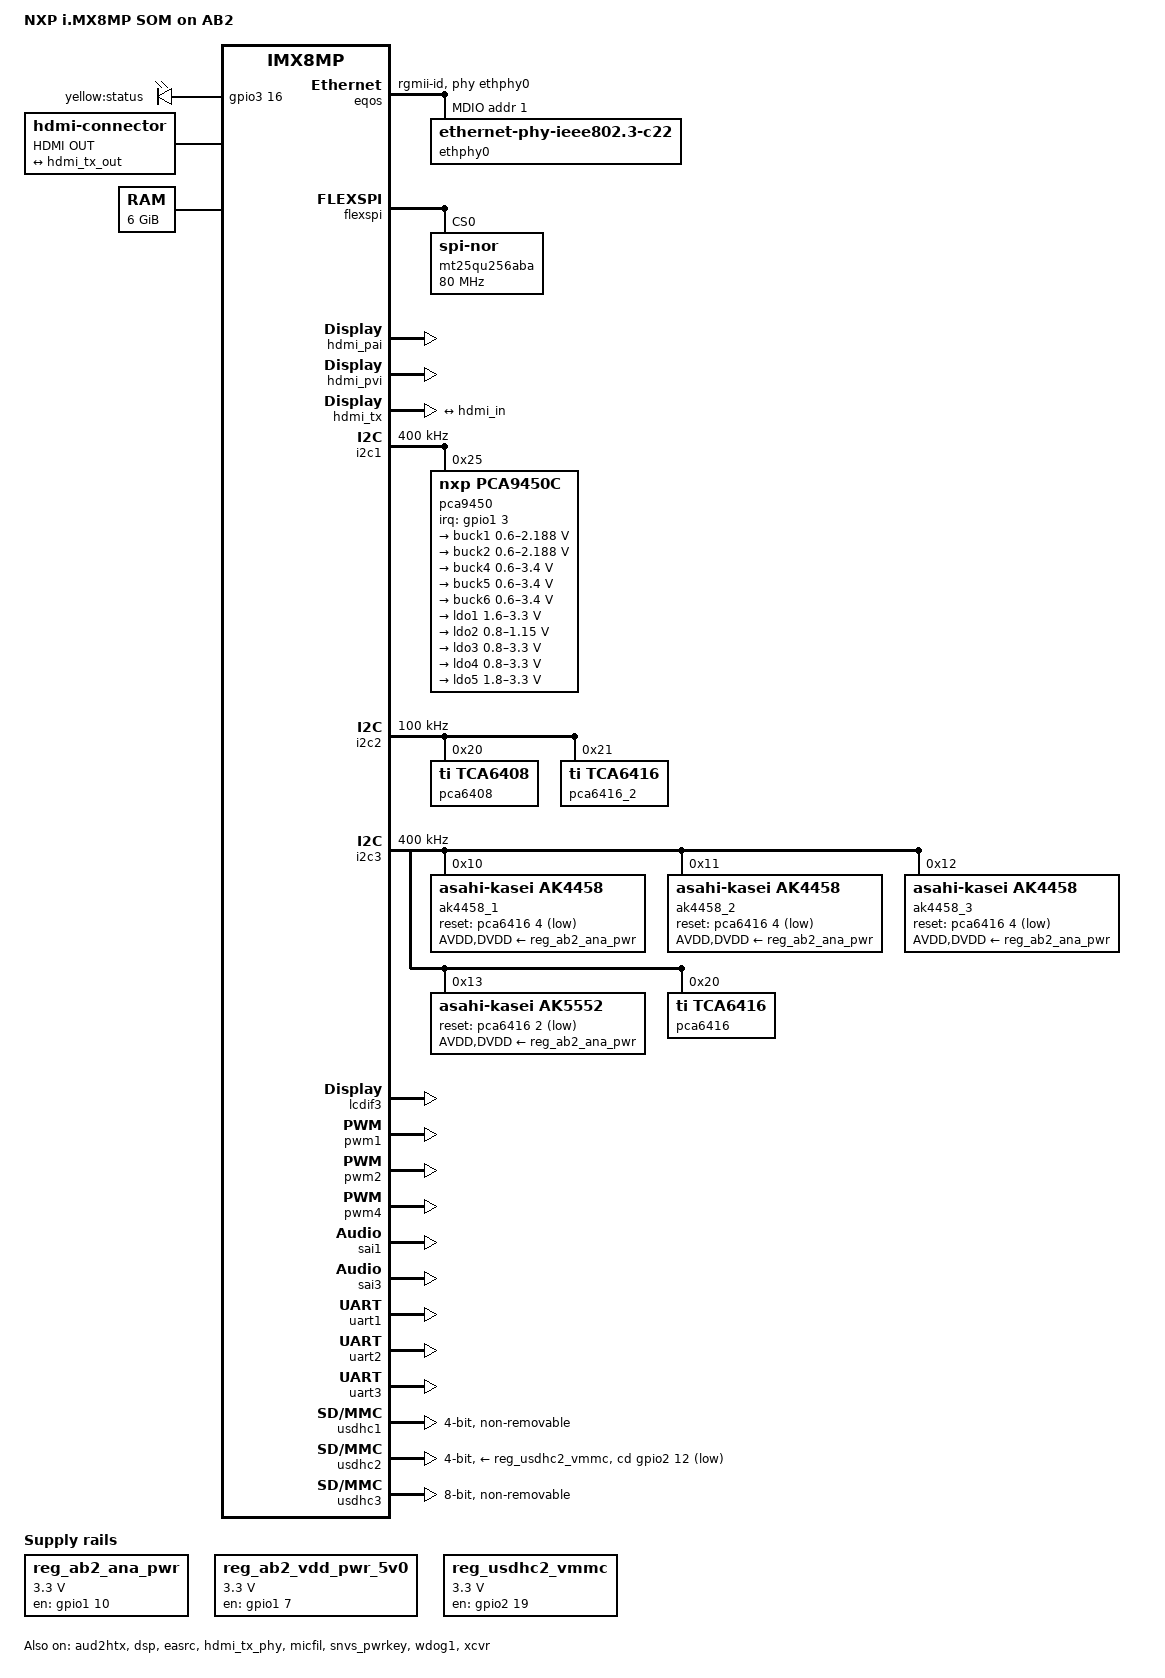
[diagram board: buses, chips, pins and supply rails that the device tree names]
// SPDX-License-Identifier: (GPL-2.0+ OR MIT)
/*
 * Copyright 2020-2026 NXP
 */

/dts-v1/;

#include <dt-bindings/usb/pd.h>
#include "imx8mp.dtsi"

/ {
	compatible = "fsl,imx8mp-ab2", "fsl,imx8mp";
	model = "NXP i.MX8MP SOM on AB2";

	chosen {
		stdout-path = &uart2;
	};

	gpio-leds {
		compatible = "gpio-leds";
		pinctrl-0 = <&pinctrl_gpio_led>;
		pinctrl-names = "default";

		status {
			default-state = "on";
			gpios = <&gpio3 16 GPIO_ACTIVE_HIGH>;
			label = "yellow:status";
		};
	};

	native-hdmi-connector {
		compatible = "hdmi-connector";
		label = "HDMI OUT";
		type = "a";

		port {
			hdmi_in: endpoint {
				remote-endpoint = <&hdmi_tx_out>;
			};
		};
	};

	reg_ab2_ana_pwr: regulator-ab2-ana-pwr {
		compatible = "regulator-fixed";
		regulator-name = "ab2_ana_pwr";
		pinctrl-0 = <&pinctrl_ab2_ana_pwr>;
		pinctrl-names = "default";
		regulator-always-on;
		regulator-max-microvolt = <3300000>;
		regulator-min-microvolt = <3300000>;
		gpio = <&gpio1 10 GPIO_ACTIVE_HIGH>;
		enable-active-high;
	};

	reg_ab2_vdd_pwr_5v0: regulator-ab2-vdd-pwr-5v0 {
		compatible = "regulator-fixed";
		regulator-name = "ab2_vdd_pwr_5v0";
		pinctrl-0 = <&pinctrl_ab2_vdd_pwr_5v0>;
		pinctrl-names = "default";
		regulator-always-on;
		regulator-max-microvolt = <3300000>;
		regulator-min-microvolt = <3300000>;
		gpio = <&gpio1 7 GPIO_ACTIVE_HIGH>;
		enable-active-high;
	};

	reg_usdhc2_vmmc: regulator-usdhc2 {
		compatible = "regulator-fixed";
		regulator-name = "VSD_3V3";
		pinctrl-0 = <&pinctrl_reg_usdhc2_vmmc>;
		pinctrl-names = "default";
		regulator-max-microvolt = <3300000>;
		regulator-min-microvolt = <3300000>;
		gpio = <&gpio2 19 GPIO_ACTIVE_HIGH>;
		enable-active-high;
	};

	reserved-memory {
		ranges;
		#address-cells = <2>;
		#size-cells = <2>;

		dsp_vdev0vring0: vdev0vring0@942f0000 {
			reg = <0 0x942f0000 0 0x8000>;
			no-map;
		};

		dsp_vdev0vring1: vdev0vring1@942f8000 {
			reg = <0 0x942f8000 0 0x8000>;
			no-map;
		};

		dsp_vdev0buffer: vdev0buffer@94300000 {
			compatible = "shared-dma-pool";
			reg = <0 0x94300000 0 0x100000>;
			no-map;
		};
	};

	sound-ak4458 {
		compatible = "fsl,imx-audio-card";
		model = "ak4458-audio";

		pri-dai-link {
			format = "i2s";
			link-name = "akcodec";
			fsl,mclk-equal-bclk;

			codec {
				sound-dai = <&ak4458_1>, <&ak4458_2>;
			};

			cpu {
				sound-dai = <&sai1>;
			};
		};
	};

	sound-ak5552 {
		compatible = "fsl,imx-audio-card";
		model = "ak5552-audio";

		pri-dai-link {
			format = "i2s";
			link-name = "akcodec";
			fsl,mclk-equal-bclk;

			codec {
				sound-dai = <&ak5552>;
			};

			cpu {
				sound-dai = <&sai3>;
			};
		};
	};

	sound-hdmi {
		compatible = "fsl,imx-audio-hdmi";
		audio-cpu = <&aud2htx>;
		hdmi-out;
		model = "audio-hdmi";
	};

	sound-micfil {
		compatible = "fsl,imx-audio-card";
		model = "micfil-audio";

		pri-dai-link {
			format = "i2s";
			link-name = "micfil hifi";

			cpu {
				sound-dai = <&micfil>;
			};
		};
	};

	sound-xcvr {
		compatible = "fsl,imx-audio-card";
		model = "imx-audio-xcvr";

		pri-dai-link {
			link-name = "XCVR PCM";

			cpu {
				sound-dai = <&xcvr>;
			};
		};
	};

	memory@40000000 {
		reg = <0x0 0x40000000 0 0xc0000000>,
		      <0x1 0x00000000 0 0xc0000000>;
		device_type = "memory";
	};
};

&A53_0 {
	cpu-supply = <&buck2>;
};

&A53_1 {
	cpu-supply = <&buck2>;
};

&A53_2 {
	cpu-supply = <&buck2>;
};

&A53_3 {
	cpu-supply = <&buck2>;
};

&aud2htx {
	status = "okay";
};

&dsp {
	memory-region = <&dsp_vdev0buffer>, <&dsp_vdev0vring0>,
			<&dsp_vdev0vring1>, <&dsp_reserved>;
	status = "okay";
};

&dsp_reserved {
	status = "okay";
};

&easrc {
	#sound-dai-cells = <0>;
	fsl,asrc-rate = <48000>;
	status = "okay";
};

&eqos {
	phy-handle = <&ethphy0>;
	phy-mode = "rgmii-id";
	pinctrl-0 = <&pinctrl_eqos>;
	pinctrl-names = "default";
	status = "okay";

	mdio {
		compatible = "snps,dwmac-mdio";
		#address-cells = <1>;
		#size-cells = <0>;

		ethphy0: ethernet-phy@1 {
			compatible = "ethernet-phy-ieee802.3-c22";
			reg = <1>;
		};
	};
};

&flexspi {
	pinctrl-0 = <&pinctrl_flexspi0>;
	pinctrl-names = "default";
	status = "okay";

	mt25qu256aba: flash@0 {
		compatible = "jedec,spi-nor";
		reg = <0>;
		spi-max-frequency = <80000000>;
		spi-rx-bus-width = <4>;
		spi-tx-bus-width = <1>;
	};
};

&hdmi_pai {
	status = "okay";
};

&hdmi_pvi {
	status = "okay";
};

&hdmi_tx {
	pinctrl-0 = <&pinctrl_hdmi>;
	pinctrl-names = "default";
	status = "okay";

	ports {
		port@1 {
			hdmi_tx_out: endpoint {
				remote-endpoint = <&hdmi_in>;
			};
		};
	};
};

&hdmi_tx_phy {
	status = "okay";
};

&i2c1 {
	clock-frequency = <400000>;
	pinctrl-0 = <&pinctrl_i2c1>;
	pinctrl-names = "default";
	status = "okay";

	pca9450: pmic@25 {
		compatible = "nxp,pca9450c";
		reg = <0x25>;
		interrupt-parent = <&gpio1>;
		interrupts = <3 IRQ_TYPE_LEVEL_LOW>;
		pinctrl-0 = <&pinctrl_pmic>;

		regulators {
			buck1: BUCK1 {
				regulator-name = "BUCK1";
				regulator-always-on;
				regulator-boot-on;
				regulator-max-microvolt = <2187500>;
				regulator-min-microvolt = <600000>;
				regulator-ramp-delay = <3125>;
			};

			buck2: BUCK2 {
				regulator-name = "BUCK2";
				regulator-always-on;
				regulator-boot-on;
				regulator-max-microvolt = <2187500>;
				regulator-min-microvolt = <600000>;
				regulator-ramp-delay = <3125>;
				nxp,dvs-run-voltage = <950000>;
				nxp,dvs-standby-voltage = <850000>;
			};

			buck4: BUCK4 {
				regulator-name = "BUCK4";
				regulator-always-on;
				regulator-boot-on;
				regulator-max-microvolt = <3400000>;
				regulator-min-microvolt = <600000>;
			};

			buck5: BUCK5 {
				regulator-name = "BUCK5";
				regulator-always-on;
				regulator-boot-on;
				regulator-max-microvolt = <3400000>;
				regulator-min-microvolt = <600000>;
			};

			buck6: BUCK6 {
				regulator-name = "BUCK6";
				regulator-always-on;
				regulator-boot-on;
				regulator-max-microvolt = <3400000>;
				regulator-min-microvolt = <600000>;
			};

			ldo1: LDO1 {
				regulator-name = "LDO1";
				regulator-always-on;
				regulator-boot-on;
				regulator-max-microvolt = <3300000>;
				regulator-min-microvolt = <1600000>;
			};

			ldo2: LDO2 {
				regulator-name = "LDO2";
				regulator-always-on;
				regulator-boot-on;
				regulator-max-microvolt = <1150000>;
				regulator-min-microvolt = <800000>;
			};

			ldo3: LDO3 {
				regulator-name = "LDO3";
				regulator-always-on;
				regulator-boot-on;
				regulator-max-microvolt = <3300000>;
				regulator-min-microvolt = <800000>;
			};

			ldo4: LDO4 {
				regulator-name = "LDO4";
				regulator-always-on;
				regulator-boot-on;
				regulator-max-microvolt = <3300000>;
				regulator-min-microvolt = <800000>;
			};

			ldo5: LDO5 {
				regulator-name = "LDO5";
				regulator-always-on;
				regulator-boot-on;
				regulator-max-microvolt = <3300000>;
				regulator-min-microvolt = <1800000>;
			};
		};
	};
};

&i2c2 {
	clock-frequency = <100000>;
	pinctrl-0 = <&pinctrl_i2c2>;
	pinctrl-names = "default";
	status = "okay";

	pca6408: gpio@20 {
		compatible = "ti,tca6408";
		reg = <0x20>;
		#gpio-cells = <2>;
		gpio-controller;
	};

	pca6416_2: gpio@21 {
		compatible = "ti,tca6416";
		reg = <0x21>;
		#gpio-cells = <2>;
		gpio-controller;
	};
};

&i2c3 {
	clock-frequency = <400000>;
	pinctrl-0 = <&pinctrl_i2c3>;
	pinctrl-names = "default";
	status = "okay";

	ak4458_1: audio-codec@10 {
		compatible = "asahi-kasei,ak4458";
		reg = <0x10>;
		#sound-dai-cells = <0>;
		AVDD-supply = <&reg_ab2_ana_pwr>;
		DVDD-supply = <&reg_ab2_ana_pwr>;
		reset-gpios = <&pca6416 4 GPIO_ACTIVE_LOW>;
		sound-name-prefix = "0";
	};

	ak4458_2: audio-codec@11 {
		compatible = "asahi-kasei,ak4458";
		reg = <0x11>;
		#sound-dai-cells = <0>;
		AVDD-supply = <&reg_ab2_ana_pwr>;
		DVDD-supply = <&reg_ab2_ana_pwr>;
		reset-gpios = <&pca6416 4 GPIO_ACTIVE_LOW>;
		sound-name-prefix = "1";
	};

	ak4458_3: audio-codec@12 {
		compatible = "asahi-kasei,ak4458";
		reg = <0x12>;
		#sound-dai-cells = <0>;
		AVDD-supply = <&reg_ab2_ana_pwr>;
		DVDD-supply = <&reg_ab2_ana_pwr>;
		reset-gpios = <&pca6416 4 GPIO_ACTIVE_LOW>;
	};

	ak5552: audio-codec@13 {
		compatible = "asahi-kasei,ak5552";
		reg = <0x13>;
		#sound-dai-cells = <0>;
		AVDD-supply = <&reg_ab2_ana_pwr>;
		DVDD-supply = <&reg_ab2_ana_pwr>;
		reset-gpios = <&pca6416 2 GPIO_ACTIVE_LOW>;
	};

	pca6416: gpio@20 {
		compatible = "ti,tca6416";
		reg = <0x20>;
		#gpio-cells = <2>;
		gpio-controller;
	};
};

&iomuxc {
	pinctrl-0 = <&pinctrl_hog>;
	pinctrl-names = "default";

	pinctrl_ab2_ana_pwr: ab2anapwrgrp {
		fsl,pins = <
			MX8MP_IOMUXC_GPIO1_IO10__GPIO1_IO10	0xd6
		>;
	};

	pinctrl_ab2_vdd_pwr_5v0: ab2vddpwr5v0grp {
		fsl,pins = <
			MX8MP_IOMUXC_GPIO1_IO07__GPIO1_IO07	0xd6
		>;
	};

	pinctrl_eqos: eqosgrp {
		fsl,pins = <
			MX8MP_IOMUXC_ENET_MDC__ENET_QOS_MDC		0x2
			MX8MP_IOMUXC_ENET_MDIO__ENET_QOS_MDIO		0x2
			MX8MP_IOMUXC_ENET_RD0__ENET_QOS_RGMII_RD0	0x90
			MX8MP_IOMUXC_ENET_RD1__ENET_QOS_RGMII_RD1	0x90
			MX8MP_IOMUXC_ENET_RD2__ENET_QOS_RGMII_RD2	0x90
			MX8MP_IOMUXC_ENET_RD3__ENET_QOS_RGMII_RD3	0x90
			MX8MP_IOMUXC_ENET_RXC__CCM_ENET_QOS_CLOCK_GENERATE_RX_CLK	0x90
			MX8MP_IOMUXC_ENET_RX_CTL__ENET_QOS_RGMII_RX_CTL	0x90
			MX8MP_IOMUXC_ENET_TD0__ENET_QOS_RGMII_TD0	0x16
			MX8MP_IOMUXC_ENET_TD1__ENET_QOS_RGMII_TD1	0x16
			MX8MP_IOMUXC_ENET_TD2__ENET_QOS_RGMII_TD2	0x16
			MX8MP_IOMUXC_ENET_TD3__ENET_QOS_RGMII_TD3	0x16
			MX8MP_IOMUXC_ENET_TX_CTL__ENET_QOS_RGMII_TX_CTL	0x16
			MX8MP_IOMUXC_ENET_TXC__CCM_ENET_QOS_CLOCK_GENERATE_TX_CLK	0x16
			MX8MP_IOMUXC_GPIO1_IO05__GPIO1_IO05		0x10
		>;
	};

	pinctrl_flexspi0: flexspi0grp {
		fsl,pins = <
			MX8MP_IOMUXC_NAND_ALE__FLEXSPI_A_SCLK           0x1c2
			MX8MP_IOMUXC_NAND_CE0_B__FLEXSPI_A_SS0_B        0x82
			MX8MP_IOMUXC_NAND_DATA00__FLEXSPI_A_DATA00      0x82
			MX8MP_IOMUXC_NAND_DATA01__FLEXSPI_A_DATA01      0x82
			MX8MP_IOMUXC_NAND_DATA02__FLEXSPI_A_DATA02      0x82
			MX8MP_IOMUXC_NAND_DATA03__FLEXSPI_A_DATA03      0x82
		>;
	};

	pinctrl_gpio_led: gpioledgrp {
		fsl,pins = <
			MX8MP_IOMUXC_NAND_READY_B__GPIO3_IO16	0x10
		>;
	};

	pinctrl_hdmi: hdmigrp {
		fsl,pins = <
			MX8MP_IOMUXC_HDMI_DDC_SCL__HDMIMIX_HDMI_SCL	0x1c2
			MX8MP_IOMUXC_HDMI_DDC_SDA__HDMIMIX_HDMI_SDA	0x1c2
			MX8MP_IOMUXC_HDMI_CEC__HDMIMIX_HDMI_CEC		0x10
		>;
	};

	pinctrl_hog: hoggrp {
		fsl,pins = <
			MX8MP_IOMUXC_HDMI_HPD__HDMIMIX_HDMI_HPD		0x40000010
		>;
	};

	pinctrl_i2c1: i2c1grp {
		fsl,pins = <
			MX8MP_IOMUXC_I2C1_SCL__I2C1_SCL		0x400001c2
			MX8MP_IOMUXC_I2C1_SDA__I2C1_SDA		0x400001c2
		>;
	};

	pinctrl_i2c2: i2c2grp {
		fsl,pins = <
			MX8MP_IOMUXC_I2C2_SCL__I2C2_SCL		0x400001c2
			MX8MP_IOMUXC_I2C2_SDA__I2C2_SDA		0x400001c2
		>;
	};

	pinctrl_i2c3: i2c3grp {
		fsl,pins = <
			MX8MP_IOMUXC_I2C3_SCL__I2C3_SCL		0x400001c2
			MX8MP_IOMUXC_I2C3_SDA__I2C3_SDA		0x400001c2
		>;
	};

	pinctrl_pdm: pdmgrp {
		fsl,pins = <
			MX8MP_IOMUXC_SAI5_RXC__AUDIOMIX_PDM_CLK		0xd6
			MX8MP_IOMUXC_SAI5_RXD0__AUDIOMIX_PDM_BIT_STREAM00	0xd6
			MX8MP_IOMUXC_SAI5_RXD1__AUDIOMIX_PDM_BIT_STREAM01	0xd6
			MX8MP_IOMUXC_SAI5_RXD2__AUDIOMIX_PDM_BIT_STREAM02	0xd6
			MX8MP_IOMUXC_SAI5_RXD3__AUDIOMIX_PDM_BIT_STREAM03	0xd6
		>;
	};

	pinctrl_pmic: pmicgrp {
		fsl,pins = <
			MX8MP_IOMUXC_GPIO1_IO03__GPIO1_IO03	0x1c0
		>;
	};

	pinctrl_pwm1: pwm1grp {
		fsl,pins = <
			MX8MP_IOMUXC_GPIO1_IO01__PWM1_OUT	0x116
		>;
	};

	pinctrl_pwm2: pwm2grp {
		fsl,pins = <
			MX8MP_IOMUXC_GPIO1_IO11__PWM2_OUT	0x116
		>;
	};

	pinctrl_pwm4: pwm4grp {
		fsl,pins = <
			MX8MP_IOMUXC_SAI5_RXFS__PWM4_OUT	0x116
		>;
	};

	pinctrl_reg_usdhc2_vmmc: regusdhc2vmmcgrp {
		fsl,pins = <
			MX8MP_IOMUXC_SD2_RESET_B__GPIO2_IO19	0x41
		>;
	};

	pinctrl_sai1: sai1grp {
		fsl,pins = <
			MX8MP_IOMUXC_SAI1_MCLK__AUDIOMIX_SAI1_MCLK	0xd6
			MX8MP_IOMUXC_SAI1_TXFS__AUDIOMIX_SAI1_TX_SYNC	0xd6
			MX8MP_IOMUXC_SAI1_TXC__AUDIOMIX_SAI1_TX_BCLK	0xd6
			MX8MP_IOMUXC_SAI1_TXD0__AUDIOMIX_SAI1_TX_DATA00	0xd6
			MX8MP_IOMUXC_SAI1_TXD1__AUDIOMIX_SAI1_TX_DATA01	0xd6
			MX8MP_IOMUXC_SAI1_TXD2__AUDIOMIX_SAI1_TX_DATA02	0xd6
			MX8MP_IOMUXC_SAI1_TXD3__AUDIOMIX_SAI1_TX_DATA03	0xd6
			MX8MP_IOMUXC_SAI1_TXD4__AUDIOMIX_SAI1_TX_DATA04	0xd6
			MX8MP_IOMUXC_SAI1_TXD5__AUDIOMIX_SAI1_TX_DATA05	0xd6
			MX8MP_IOMUXC_SAI1_TXD6__AUDIOMIX_SAI1_TX_DATA06	0xd6
			MX8MP_IOMUXC_SAI1_TXD7__AUDIOMIX_SAI1_TX_DATA07	0xd6
		>;
	};

	pinctrl_sai3: sai3grp {
		fsl,pins = <
			MX8MP_IOMUXC_SAI3_MCLK__AUDIOMIX_SAI3_MCLK	0xd6
			MX8MP_IOMUXC_SAI3_RXC__AUDIOMIX_SAI3_RX_BCLK	0xd6
			MX8MP_IOMUXC_SAI3_RXFS__AUDIOMIX_SAI3_RX_SYNC	0xd6
			MX8MP_IOMUXC_SAI3_RXD__AUDIOMIX_SAI3_RX_DATA00	0xd6
		>;
	};

	pinctrl_uart1: uart1grp {
		fsl,pins = <
			MX8MP_IOMUXC_UART1_RXD__UART1_DCE_RX	0x140
			MX8MP_IOMUXC_UART1_TXD__UART1_DCE_TX	0x140
			MX8MP_IOMUXC_UART3_RXD__UART1_DCE_CTS	0x140
			MX8MP_IOMUXC_UART3_TXD__UART1_DCE_RTS	0x140
		>;
	};

	pinctrl_uart2: uart2grp {
		fsl,pins = <
			MX8MP_IOMUXC_UART2_RXD__UART2_DCE_RX	0x140
			MX8MP_IOMUXC_UART2_TXD__UART2_DCE_TX	0x140
		>;
	};

	pinctrl_uart3: uart3grp {
		fsl,pins = <
			MX8MP_IOMUXC_ECSPI1_SCLK__UART3_DCE_RX		0x140
			MX8MP_IOMUXC_ECSPI1_MOSI__UART3_DCE_TX		0x140
			MX8MP_IOMUXC_ECSPI1_SS0__UART3_DCE_RTS		0x140
			MX8MP_IOMUXC_ECSPI1_MISO__UART3_DCE_CTS		0x140
		>;
	};

	pinctrl_usdhc1: usdhc1grp {
		fsl,pins = <
			MX8MP_IOMUXC_SD1_CLK__USDHC1_CLK	0x190
			MX8MP_IOMUXC_SD1_CMD__USDHC1_CMD	0x1d0
			MX8MP_IOMUXC_SD1_DATA0__USDHC1_DATA0	0x1d0
			MX8MP_IOMUXC_SD1_DATA1__USDHC1_DATA1	0x1d0
			MX8MP_IOMUXC_SD1_DATA2__USDHC1_DATA2	0x1d0
			MX8MP_IOMUXC_SD1_DATA3__USDHC1_DATA3	0x1d0
		>;
	};

	pinctrl_usdhc1_100mhz: usdhc1-100mhzgrp {
		fsl,pins = <
			MX8MP_IOMUXC_SD1_CLK__USDHC1_CLK	0x194
			MX8MP_IOMUXC_SD1_CMD__USDHC1_CMD	0x1d4
			MX8MP_IOMUXC_SD1_DATA0__USDHC1_DATA0	0x1d4
			MX8MP_IOMUXC_SD1_DATA1__USDHC1_DATA1	0x1d4
			MX8MP_IOMUXC_SD1_DATA2__USDHC1_DATA2	0x1d4
			MX8MP_IOMUXC_SD1_DATA3__USDHC1_DATA3	0x1d4
		>;
	};

	pinctrl_usdhc1_200mhz: usdhc1-200mhzgrp {
		fsl,pins = <
			MX8MP_IOMUXC_SD1_CLK__USDHC1_CLK	0x196
			MX8MP_IOMUXC_SD1_CMD__USDHC1_CMD	0x1d6
			MX8MP_IOMUXC_SD1_DATA0__USDHC1_DATA0	0x1d6
			MX8MP_IOMUXC_SD1_DATA1__USDHC1_DATA1	0x1d6
			MX8MP_IOMUXC_SD1_DATA2__USDHC1_DATA2	0x1d6
			MX8MP_IOMUXC_SD1_DATA3__USDHC1_DATA3	0x1d6
		>;
	};

	pinctrl_usdhc2_gpio: usdhc2gpiogrp {
		fsl,pins = <
			MX8MP_IOMUXC_SD2_CD_B__GPIO2_IO12	0x1c4
		>;
	};

	pinctrl_usdhc2: usdhc2grp {
		fsl,pins = <
			MX8MP_IOMUXC_SD2_CLK__USDHC2_CLK	0x190
			MX8MP_IOMUXC_SD2_CMD__USDHC2_CMD	0x1d0
			MX8MP_IOMUXC_SD2_DATA0__USDHC2_DATA0	0x1d0
			MX8MP_IOMUXC_SD2_DATA1__USDHC2_DATA1	0x1d0
			MX8MP_IOMUXC_SD2_DATA2__USDHC2_DATA2	0x1d0
			MX8MP_IOMUXC_SD2_DATA3__USDHC2_DATA3	0x1d0
			MX8MP_IOMUXC_GPIO1_IO04__USDHC2_VSELECT	0xc0
		>;
	};

	pinctrl_usdhc2_100mhz: usdhc2-100mhzgrp {
		fsl,pins = <
			MX8MP_IOMUXC_SD2_CLK__USDHC2_CLK	0x194
			MX8MP_IOMUXC_SD2_CMD__USDHC2_CMD	0x1d4
			MX8MP_IOMUXC_SD2_DATA0__USDHC2_DATA0	0x1d4
			MX8MP_IOMUXC_SD2_DATA1__USDHC2_DATA1	0x1d4
			MX8MP_IOMUXC_SD2_DATA2__USDHC2_DATA2	0x1d4
			MX8MP_IOMUXC_SD2_DATA3__USDHC2_DATA3	0x1d4
			MX8MP_IOMUXC_GPIO1_IO04__USDHC2_VSELECT 0xc0
		>;
	};

	pinctrl_usdhc2_200mhz: usdhc2-200mhzgrp {
		fsl,pins = <
			MX8MP_IOMUXC_SD2_CLK__USDHC2_CLK	0x196
			MX8MP_IOMUXC_SD2_CMD__USDHC2_CMD	0x1d6
			MX8MP_IOMUXC_SD2_DATA0__USDHC2_DATA0	0x1d6
			MX8MP_IOMUXC_SD2_DATA1__USDHC2_DATA1	0x1d6
			MX8MP_IOMUXC_SD2_DATA2__USDHC2_DATA2	0x1d6
			MX8MP_IOMUXC_SD2_DATA3__USDHC2_DATA3	0x1d6
			MX8MP_IOMUXC_GPIO1_IO04__USDHC2_VSELECT 0xc0
		>;
	};

	pinctrl_usdhc3: usdhc3grp {
		fsl,pins = <
			MX8MP_IOMUXC_NAND_WE_B__USDHC3_CLK	0x190
			MX8MP_IOMUXC_NAND_WP_B__USDHC3_CMD	0x1d0
			MX8MP_IOMUXC_NAND_DATA04__USDHC3_DATA0	0x1d0
			MX8MP_IOMUXC_NAND_DATA05__USDHC3_DATA1	0x1d0
			MX8MP_IOMUXC_NAND_DATA06__USDHC3_DATA2	0x1d0
			MX8MP_IOMUXC_NAND_DATA07__USDHC3_DATA3	0x1d0
			MX8MP_IOMUXC_NAND_RE_B__USDHC3_DATA4	0x1d0
			MX8MP_IOMUXC_NAND_CE2_B__USDHC3_DATA5	0x1d0
			MX8MP_IOMUXC_NAND_CE3_B__USDHC3_DATA6	0x1d0
			MX8MP_IOMUXC_NAND_CLE__USDHC3_DATA7	0x1d0
			MX8MP_IOMUXC_NAND_CE1_B__USDHC3_STROBE	0x190
		>;
	};

	pinctrl_usdhc3_100mhz: usdhc3-100mhzgrp {
		fsl,pins = <
			MX8MP_IOMUXC_NAND_WE_B__USDHC3_CLK	0x194
			MX8MP_IOMUXC_NAND_WP_B__USDHC3_CMD	0x1d4
			MX8MP_IOMUXC_NAND_DATA04__USDHC3_DATA0	0x1d4
			MX8MP_IOMUXC_NAND_DATA05__USDHC3_DATA1	0x1d4
			MX8MP_IOMUXC_NAND_DATA06__USDHC3_DATA2	0x1d4
			MX8MP_IOMUXC_NAND_DATA07__USDHC3_DATA3	0x1d4
			MX8MP_IOMUXC_NAND_RE_B__USDHC3_DATA4	0x1d4
			MX8MP_IOMUXC_NAND_CE2_B__USDHC3_DATA5	0x1d4
			MX8MP_IOMUXC_NAND_CE3_B__USDHC3_DATA6	0x1d4
			MX8MP_IOMUXC_NAND_CLE__USDHC3_DATA7	0x1d4
			MX8MP_IOMUXC_NAND_CE1_B__USDHC3_STROBE	0x194
		>;
	};

	pinctrl_usdhc3_200mhz: usdhc3-200mhzgrp {
		fsl,pins = <
			MX8MP_IOMUXC_NAND_WE_B__USDHC3_CLK	0x196
			MX8MP_IOMUXC_NAND_WP_B__USDHC3_CMD	0x1d6
			MX8MP_IOMUXC_NAND_DATA04__USDHC3_DATA0	0x1d6
			MX8MP_IOMUXC_NAND_DATA05__USDHC3_DATA1	0x1d6
			MX8MP_IOMUXC_NAND_DATA06__USDHC3_DATA2	0x1d6
			MX8MP_IOMUXC_NAND_DATA07__USDHC3_DATA3	0x1d6
			MX8MP_IOMUXC_NAND_RE_B__USDHC3_DATA4	0x1d6
			MX8MP_IOMUXC_NAND_CE2_B__USDHC3_DATA5	0x1d6
			MX8MP_IOMUXC_NAND_CE3_B__USDHC3_DATA6	0x1d6
			MX8MP_IOMUXC_NAND_CLE__USDHC3_DATA7	0x1d6
			MX8MP_IOMUXC_NAND_CE1_B__USDHC3_STROBE	0x196
		>;
	};

	pinctrl_wdog: wdoggrp {
		fsl,pins = <
			MX8MP_IOMUXC_GPIO1_IO02__WDOG1_WDOG_B	0xc6
		>;
	};

	pinctrl_xcvr: xcvrgrp {
		fsl,pins = <
			MX8MP_IOMUXC_SPDIF_EXT_CLK__AUDIOMIX_SPDIF1_EXT_CLK	0xd6
			MX8MP_IOMUXC_SPDIF_RX__AUDIOMIX_SPDIF1_IN	0xd6
			MX8MP_IOMUXC_SPDIF_TX__AUDIOMIX_SPDIF1_OUT	0xd6
		>;
	};
};

&lcdif3 {
	status = "okay";
};

&micfil {
	assigned-clocks = <&clk IMX8MP_CLK_PDM>;
	assigned-clock-parents = <&clk IMX8MP_AUDIO_PLL1_OUT>;
	assigned-clock-rates = <196608000>;
	#sound-dai-cells = <0>;
	pinctrl-0 = <&pinctrl_pdm>;
	pinctrl-names = "default";
	status = "okay";
};

&pwm1 {
	pinctrl-0 = <&pinctrl_pwm1>;
	pinctrl-names = "default";
	status = "okay";
};

&pwm2 {
	pinctrl-0 = <&pinctrl_pwm2>;
	pinctrl-names = "default";
	status = "okay";
};

&pwm4 {
	pinctrl-0 = <&pinctrl_pwm4>;
	pinctrl-names = "default";
	status = "okay";
};

&sai1 {
	clocks = <&audio_blk_ctrl IMX8MP_CLK_AUDIOMIX_SAI1_IPG>, <&clk IMX8MP_CLK_DUMMY>,
		<&audio_blk_ctrl IMX8MP_CLK_AUDIOMIX_SAI1_MCLK1>, <&clk IMX8MP_CLK_DUMMY>,
		<&clk IMX8MP_CLK_DUMMY>, <&clk IMX8MP_AUDIO_PLL1_OUT>,
		<&clk IMX8MP_AUDIO_PLL2_OUT>;
	clock-names = "bus", "mclk0", "mclk1", "mclk2", "mclk3", "pll8k", "pll11k";
	assigned-clocks = <&clk IMX8MP_CLK_SAI1>;
	assigned-clock-parents = <&clk IMX8MP_AUDIO_PLL1_OUT>;
	assigned-clock-rates = <49152000>;
	dmas = <&sdma2 0 25 0>, <&sdma2 1 25 0>;
	#sound-dai-cells = <0>;
	pinctrl-0 = <&pinctrl_sai1>;
	pinctrl-names = "default";
	fsl,dataline = <2 0xff 0xff>;
	fsl,sai-mclk-direction-output;
	status = "okay";
};

&sai3 {
	clocks = <&audio_blk_ctrl IMX8MP_CLK_AUDIOMIX_SAI3_IPG>, <&clk IMX8MP_CLK_DUMMY>,
		<&audio_blk_ctrl IMX8MP_CLK_AUDIOMIX_SAI3_MCLK1>, <&clk IMX8MP_CLK_DUMMY>,
		<&clk IMX8MP_CLK_DUMMY>, <&clk IMX8MP_AUDIO_PLL1_OUT>,
		<&clk IMX8MP_AUDIO_PLL2_OUT>;
	clock-names = "bus", "mclk0", "mclk1", "mclk2", "mclk3", "pll8k", "pll11k";
	assigned-clocks = <&clk IMX8MP_CLK_SAI3>;
	assigned-clock-parents = <&clk IMX8MP_AUDIO_PLL1_OUT>;
	assigned-clock-rates = <49152000>;
	#sound-dai-cells = <0>;
	pinctrl-0 = <&pinctrl_sai3>;
	pinctrl-names = "default";
	fsl,sai-asynchronous;
	fsl,sai-mclk-direction-output;
	status = "okay";
};

&sdma2 {
	status = "okay";
};

&snvs_pwrkey {
	status = "okay";
};

&uart1 {
	assigned-clocks = <&clk IMX8MP_CLK_UART1>;
	assigned-clock-parents = <&clk IMX8MP_SYS_PLL1_80M>;
	pinctrl-0 = <&pinctrl_uart1>;
	pinctrl-names = "default";
	uart-has-rtscts;
	status = "okay";
};

&uart2 {
	pinctrl-0 = <&pinctrl_uart2>;
	pinctrl-names = "default";
	status = "okay";
};

&uart3 {
	assigned-clocks = <&clk IMX8MP_CLK_UART3>;
	assigned-clock-parents = <&clk IMX8MP_SYS_PLL1_80M>;
	pinctrl-0 = <&pinctrl_uart3>;
	pinctrl-names = "default";
	uart-has-rtscts;
	status = "okay";
};

&usdhc1 {
	assigned-clocks = <&clk IMX8MP_CLK_USDHC1>;
	assigned-clock-rates = <400000000>;
	bus-width = <4>;
	non-removable;
	pinctrl-0 = <&pinctrl_usdhc1>;
	pinctrl-1 = <&pinctrl_usdhc1_100mhz>;
	pinctrl-2 = <&pinctrl_usdhc1_200mhz>;
	pinctrl-names = "default", "state_100mhz", "state_200mhz";
	status = "okay";
};

&usdhc2 {
	assigned-clocks = <&clk IMX8MP_CLK_USDHC2>;
	assigned-clock-rates = <400000000>;
	bus-width = <4>;
	cd-gpios = <&gpio2 12 GPIO_ACTIVE_LOW>;
	pinctrl-0 = <&pinctrl_usdhc2>, <&pinctrl_usdhc2_gpio>;
	pinctrl-1 = <&pinctrl_usdhc2_100mhz>, <&pinctrl_usdhc2_gpio>;
	pinctrl-2 = <&pinctrl_usdhc2_200mhz>, <&pinctrl_usdhc2_gpio>;
	pinctrl-names = "default", "state_100mhz", "state_200mhz";
	vmmc-supply = <&reg_usdhc2_vmmc>;
	status = "okay";
};

&usdhc3 {
	assigned-clocks = <&clk IMX8MP_CLK_USDHC3>;
	assigned-clock-rates = <400000000>;
	bus-width = <8>;
	non-removable;
	pinctrl-0 = <&pinctrl_usdhc3>;
	pinctrl-1 = <&pinctrl_usdhc3_100mhz>;
	pinctrl-2 = <&pinctrl_usdhc3_200mhz>;
	pinctrl-names = "default", "state_100mhz", "state_200mhz";
	status = "okay";
};

&wdog1 {
	pinctrl-0 = <&pinctrl_wdog>;
	pinctrl-names = "default";
	fsl,ext-reset-output;
	status = "okay";
};

&xcvr {
	#sound-dai-cells = <0>;
	pinctrl-0 = <&pinctrl_xcvr>;
	pinctrl-names = "default";
	status = "okay";
};
